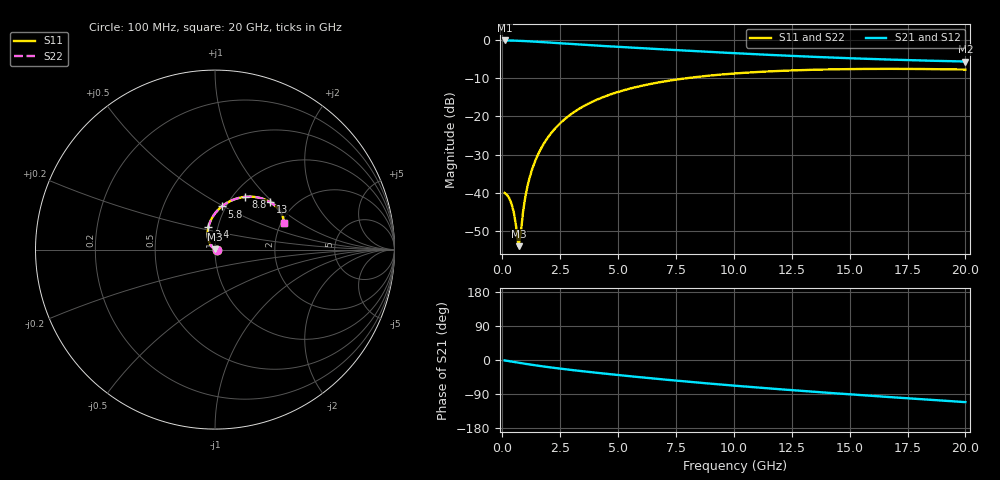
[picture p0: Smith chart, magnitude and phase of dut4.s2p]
! Created with skrf 1.9.0 (http://scikit-rf.org).
# GHz S RI R 50.0
!freq ReS11 ImS11 ReS21 ImS21 ReS12 ImS12 ReS22 ImS22
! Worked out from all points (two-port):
!   200 points, 100 MHz to 20 GHz, reference 50 ohm
!   highest |S21| = -0.09 dB at 100 MHz (marker M1); lowest = -5.6 dB at 20 GHz (marker M2)
!   |S21| within 3 dB of the highest: start of sweep to 8.969 GHz
!   lowest |S11| = -54.0 dB at 700 MHz (marker M3), VSWR 1.00, Z = 50.1 + j0.156 ohm
!   |S11| at or under -10 dB: start of sweep to 7.928 GHz
!   |S22| runs from -54.0 to -7.5 dB; largest |S21 - S12| = 2.7e-15
!   S11 on the Smith chart (normalised r, x): 100 MHz: 1.02, +0.00; 3.4 GHz: 0.90, +0.23; 5.8 GHz: 0.96, +0.49; 8.8 GHz: 1.14, +0.76; 13 GHz: 1.52, +0.96; 20 GHz: 2.06, +0.74
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0.1  0.00995 4.77e-05  0.9895 -0.0183  0.9895 -0.0183  0.00995 4.77e-05
0.3  0.00847 -0.000243  0.9864 -0.0541  0.9864 -0.0541  0.00847 -0.000243
0.5  0.00549 0.000169  0.9804 -0.0891  0.9804 -0.0891  0.00549 0.000169
0.6  0.00351 0.000723  0.9765 -0.1062  0.9765 -0.1062  0.00351 0.000723
0.7  0.00125 0.00156  0.972 -0.1229  0.972 -0.1229  0.00125 0.00156
0.8  -0.00124 0.00271  0.9669 -0.1392  0.9669 -0.1392  -0.00124 0.00271
0.9  -0.00391 0.0042  0.9613 -0.1551  0.9613 -0.1551  -0.00391 0.0042
1.1  -0.00964 0.00826  0.9489 -0.1856  0.9489 -0.1856  -0.00964 0.00826
1.3  -0.0156 0.0138  0.935 -0.2143  0.935 -0.2143  -0.0156 0.0138
1.5  -0.0213 0.0207  0.9201 -0.2412  0.9201 -0.2412  -0.0213 0.0207
1.9  -0.0313 0.0382  0.8881 -0.2897  0.8881 -0.2897  -0.0313 0.0382
2.3  -0.0381 0.0595  0.8547 -0.3322  0.8547 -0.3322  -0.0381 0.0595
3.4  -0.0368 0.125  0.7618 -0.4256  0.7618 -0.4256  -0.0368 0.125
3.5  -0.0354 0.131  0.7534 -0.4328  0.7534 -0.4328  -0.0354 0.131
5.8  0.038 0.2405  0.5639 -0.5546  0.5639 -0.5546  0.038 0.2405
6.8  0.0817 0.2686  0.4848 -0.5861  0.4848 -0.5861  0.0817 0.2686
8.8  0.1692 0.2939  0.3373 -0.6191  0.3373 -0.6191  0.1692 0.2939
10.1  0.2201 0.2934  0.2511 -0.624  0.2511 -0.624  0.2201 0.2934
13  0.3078 0.2638  0.0873 -0.6056  0.0873 -0.6056  0.3078 0.2638
13.4  0.317 0.2579  0.0676 -0.6009  0.0676 -0.6009  0.317 0.2579
16.7  0.3681 0.2029  -0.0746 -0.5514  -0.0746 -0.5514  0.3681 0.2029
20  0.3827 0.1498  -0.1893 -0.4891  -0.1893 -0.4891  0.3827 0.1498
